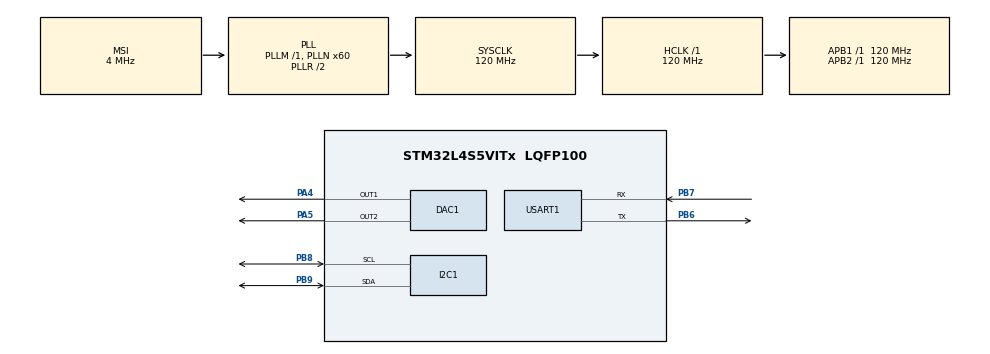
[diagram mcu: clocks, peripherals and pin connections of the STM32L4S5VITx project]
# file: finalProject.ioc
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DAC1.DAC_Channel-DAC_OUT2=DAC_CHANNEL_2
DAC1.DAC_Trigger-DAC_OUT1=DAC_TRIGGER_T2_TRGO
Dma.DAC1_CH1.0.Direction=DMA_MEMORY_TO_PERIPH
Dma.DAC1_CH1.0.EventEnable=DISABLE
Dma.DAC1_CH1.0.Instance=DMA1_Channel3
Dma.DAC1_CH1.0.MemDataAlignment=DMA_MDATAALIGN_WORD
Dma.DAC1_CH1.0.MemInc=DMA_MINC_ENABLE
Dma.DAC1_CH1.0.Mode=DMA_CIRCULAR
Dma.DAC1_CH1.0.PeriphDataAlignment=DMA_PDATAALIGN_HALFWORD
Dma.DAC1_CH1.0.PeriphInc=DMA_PINC_DISABLE
Dma.DAC1_CH1.0.Polarity=HAL_DMAMUX_REQUEST_GEN_RISING
Dma.DAC1_CH1.0.Priority=DMA_PRIORITY_LOW
Dma.DAC1_CH1.0.RequestNumber=1
Dma.DAC1_CH1.0.SignalID=NONE
Dma.DAC1_CH1.0.SyncEnable=DISABLE
Dma.DAC1_CH1.0.SyncPolarity=HAL_DMAMUX_SYNC_NO_EVENT
Dma.DAC1_CH1.0.SyncRequestNumber=1
Dma.DAC1_CH1.0.SyncSignalID=NONE
Dma.Request0=DAC1_CH1
I2C1.Timing=0x30A175AB
Mcu.Family=STM32L4
Mcu.Name=STM32L4S5VITx
Mcu.Package=LQFP100
NVIC.DMA1_Channel3_IRQn=true\:0\:0\:false\:false\:true\:false\:true\:true
NVIC.PriorityGroup=NVIC_PRIORITYGROUP_4
PA4.Signal=COMP_DAC11_group
PA5.Signal=COMP_DAC12_group
PB6.Mode=Asynchronous
PB6.Signal=USART1_TX
PB7.Mode=Asynchronous
PB7.Signal=USART1_RX
PB8.Mode=I2C
PB8.Signal=I2C1_SCL
PB9.Mode=I2C
PB9.Signal=I2C1_SDA
ProjectManager.HeapSize=0x200
ProjectManager.StackSize=0x400
ProjectManager.TargetToolchain=STM32CubeIDE
RCC.ADCFreq_Value=48000000
RCC.AHBFreq_Value=120000000
RCC.APB1Freq_Value=120000000
RCC.APB1TimFreq_Value=120000000
RCC.APB2Freq_Value=120000000
RCC.APB2TimFreq_Value=120000000
RCC.CortexFreq_Value=120000000
RCC.HCLKFreq_Value=120000000
RCC.HSE_VALUE=8000000
RCC.HSI48_VALUE=48000000
RCC.HSI_VALUE=16000000
RCC.LSE_VALUE=32768
RCC.MSI_VALUE=4000000
RCC.PLLN=60
RCC.PLLSAI1N=24
RCC.SYSCLKFreq_VALUE=120000000
RCC.SYSCLKSource=RCC_SYSCLKSOURCE_PLLCLK
RCC.USBFreq_Value=48000000
RCC.VCOOutputFreq_Value=240000000
SH.COMP_DAC11_group.0=DAC1_OUT1,DAC_OUT1
SH.COMP_DAC12_group.0=DAC1_OUT2,DAC_OUT2
TIM2.Period=200
TIM2.TIM_MasterOutputTrigger=TIM_TRGO_UPDATE
USART1.VirtualMode-Asynchronous=VM_ASYNC
VP_TIM2_VS_ClockSourceINT.Mode=Internal
board=B-L4S5I-IOT01A

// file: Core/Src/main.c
/* USER CODE BEGIN Header */
/**
  ******************************************************************************
  * @file           : main.c
  * @brief          : Main program body
  ******************************************************************************
  * @attention
  *
  * Copyright (c) 2024 STMicroelectronics.
  * All rights reserved.
  *
  * This software is licensed under terms that can be found in the LICENSE file
  * in the root directory of this software component.
  * If no LICENSE file comes with this software, it is provided AS-IS.
  *
  ******************************************************************************
  */
/* USER CODE END Header */
#include "main.h"

/* USER CODE BEGIN Includes */
#include "kalman_c.h"
#define ARM_MATH_CM4
#include "arm_math.h"
#include <math.h>
#include "stm32l4s5i_iot01_magneto.h"  // LIS3MDL (magnetometer)
#include "stm32l4s5i_iot01_accelero.h" // LSM6DSL (accelerometer/gyroscope)
#include <string.h>
#include <stdio.h>

/* USER CODE END Includes */

DAC_HandleTypeDef hdac1;
DMA_HandleTypeDef hdma_dac1_ch1;

I2C_HandleTypeDef hi2c1;

TIM_HandleTypeDef htim2;

UART_HandleTypeDef huart1;

/* USER CODE BEGIN PV */

int16_t magnetometer_data[3];
int16_t accelerometer_data[3];
int16_t smoothed_accelerometer_data[3];
kalman_state stateX = {0.1, 0.1, 0.1, 5, 0};
kalman_state stateY = {0.1, 0.1, 0.1, 5, 0};
kalman_state stateZ = {0.1, 0.1, 0.1, 5, 0};
void Sensor_Read_with_Kalman(void);
const int BOARD_SIZE = 10;      // 10x10 board
const char CAR_SYMBOL = 'H';    // Car symbol
const char EMPTY_CELL = '.';    // Empty cell symbol
#define MAX_OBSTACLES 3      // Maximum number of obstacles
#define OBSTACLE_SYMBOL 'X'  // Symbol for obstacles

typedef struct {
    int x;  // X position
    int y;  // Y position
} Obstacle;

Obstacle obstacles[MAX_OBSTACLES];

/* USER CODE END PV */

void SystemClock_Config(void);
static void MX_GPIO_Init(void);
static void MX_DMA_Init(void);
static void MX_I2C1_Init(void);
static void MX_USART1_UART_Init(void);
static void MX_DAC1_Init(void);
static void MX_TIM2_Init(void);

/* USER CODE BEGIN 0 */
//we chose counter period of 200, which gives us 600khz, because 120 Mhz/200=600kz (with 120 Mhz processor clock)
#define SINE_TABLE_SIZE 400//600khz/400 = 1.5khz
#define SINE_TABLE_SIZE2 500//600khz/500 =1.2khz
#define SINE_TABLE_SIZE3 600//600khz/600 =1khz
#define SINE_TABLE_SIZE4 600//300khz/600 =500 hz (here because counter period is modified to 400 rather than 200
#define amplitude 170// 2/3 of 256 max amplitude from 8-bit config
uint32_t sine_table[SINE_TABLE_SIZE];
uint32_t sine_table2[SINE_TABLE_SIZE2];
uint32_t sine_table3[SINE_TABLE_SIZE3];
uint32_t sine_table4[SINE_TABLE_SIZE4];

//function to fill needed arrays with samples of sine waves of different frequencies
void GenerateSineTable(void) {
	float32_t val=0;
    for (int i = 0; i < SINE_TABLE_SIZE; i++) {
    	val=(arm_sin_f32(2.0f * 3.141592653 * i / SINE_TABLE_SIZE) + 1.0f) * (amplitude / 2.0f);
        sine_table[i] = (uint32_t) val;
    }
    val=0.0f;
    for (int i = 0; i < SINE_TABLE_SIZE2; i++) {
		val=(arm_sin_f32(2.0f * 3.141592653 * i / SINE_TABLE_SIZE2) + 1.0f) * (amplitude / 2.0f);
		sine_table2[i] = (uint32_t) val;
	}
    val=0.0f;
	for (int i = 0; i < SINE_TABLE_SIZE3; i++) {
		val=(arm_sin_f32(2.0f * 3.141592653 * i / SINE_TABLE_SIZE3) + 1.0f) * (amplitude / 2.0f);
		sine_table3[i] = (uint32_t) val;
	}
	val=0.0f;
	for (int i = 0; i < SINE_TABLE_SIZE4; i++) {
		val=(arm_sin_f32(2.0f * 3.141592653 * i / SINE_TABLE_SIZE4) + 1.0f) * (amplitude / 2.0f);
		sine_table4[i] = (uint32_t) val;
	}
}
//function to read measurements of 5 sensors and send it over UART
void Sensor_Read_with_Kalman(void) {
	char buffer[100];  // Buffer to store the formatted string

	// Read sensor data
	//BSP_MAGNETO_GetXYZ(magnetometer_data);
	BSP_ACCELERO_AccGetXYZ(accelerometer_data);

	smoothed_accelerometer_data[0]=Kalmanfilter((float)accelerometer_data[0], &stateX);
	smoothed_accelerometer_data[1]=Kalmanfilter((float)accelerometer_data[1], &stateY);
	smoothed_accelerometer_data[2]=Kalmanfilter((float)accelerometer_data[2], &stateZ);

	sprintf(buffer, "Accelerometer: X=%d, Y=%d, Z=%d\r\n",
		accelerometer_data[0], accelerometer_data[1],
		accelerometer_data[2]);
	HAL_UART_Transmit(&huart1, (uint8_t*) buffer, strlen(buffer),
			HAL_MAX_DELAY);
	sprintf(buffer, "Smoothed Accelerometer: X=%d, Y=%d, Z=%d\r\n",
		smoothed_accelerometer_data[0], smoothed_accelerometer_data[1],
		smoothed_accelerometer_data[2]);
	HAL_UART_Transmit(&huart1, (uint8_t*) buffer, strlen(buffer),
			HAL_MAX_DELAY);

	HAL_UART_Transmit(&huart1, (uint8_t*) "\r\n", 2, HAL_MAX_DELAY); // Newline for clarity
}

void processAcceleration() {
    int16_t xAxisValue = smoothed_accelerometer_data[0]; // Read X-axis value
    int16_t yAxisValue = smoothed_accelerometer_data[1]; // Read Y-axis value

    // Calculate the total acceleration (resultant of X and Y)
    float totalAcceleration = sqrt((float)(xAxisValue * xAxisValue) + (float)(yAxisValue * yAxisValue));

    // Logic for sound generation based on total acceleration
    if (totalAcceleration < 500) {
        // Low acceleration: Play Sound 1
        HAL_DAC_Stop_DMA(&hdac1, DAC_CHANNEL_1);
        HAL_DAC_Start_DMA(&hdac1, DAC_CHANNEL_1, sine_table, SINE_TABLE_SIZE, DAC_ALIGN_8B_R);
    } else if (totalAcceleration >= 300 && totalAcceleration < 600) {
        // Moderate acceleration: Play Sound 2
        HAL_DAC_Stop_DMA(&hdac1, DAC_CHANNEL_1);
        HAL_DAC_Start_DMA(&hdac1, DAC_CHANNEL_1, sine_table2, SINE_TABLE_SIZE2, DAC_ALIGN_8B_R);
    } else if (totalAcceleration >= 600) {
        // High acceleration: Play Sound 3
        HAL_DAC_Stop_DMA(&hdac1, DAC_CHANNEL_1);
        HAL_DAC_Start_DMA(&hdac1, DAC_CHANNEL_1, sine_table3, SINE_TABLE_SIZE3, DAC_ALIGN_8B_R);
    }
}
//// Function to map accelerometer coordinates to the board's grid
//void MapCoordinatesToBoard(int x, int y, char board[BOARD_SIZE][BOARD_SIZE]) {
//    // Clear the board
//    for (int i = 0; i < BOARD_SIZE; i++) {
//        for (int j = 0; j < BOARD_SIZE; j++) {
//            board[i][j] = EMPTY_CELL;
//        }
//    }
//    // Scale and map coordinates to the board
//    int mappedX = BOARD_SIZE / 2 + (x / 100);  // Adjust scaling factor (/100) as needed
//    int mappedY = BOARD_SIZE / 2 - (y / 100);  // Flip Y-axis
//    // Clamp the car position within board boundaries
//    if (mappedX < 0) mappedX = 0;
//    if (mappedX >= BOARD_SIZE) mappedX = BOARD_SIZE - 1;
//    if (mappedY < 0) mappedY = 0;
//    if (mappedY >= BOARD_SIZE) mappedY = BOARD_SIZE - 1;
//    // Place the car on the board
//    board[mappedY][mappedX] = CAR_SYMBOL;
//}

// Map accelerometer coordinates to board
void MapCoordinatesToBoard(int x, int y, char board[BOARD_SIZE][BOARD_SIZE], int *carX, int *carY) {
    // Clear the board
    for (int i = 0; i < BOARD_SIZE; i++) {
        for (int j = 0; j < BOARD_SIZE; j++) {
            board[i][j] = EMPTY_CELL;
        }
    }

    // Map coordinates to board
    *carX = BOARD_SIZE / 2 + (x / 100);
    *carY = BOARD_SIZE / 2 - (y / 100);

    // Clamp position to board boundaries
    if (*carX < 0) *carX = 0;
    if (*carX >= BOARD_SIZE) *carX = BOARD_SIZE - 1;
    if (*carY < 0) *carY = 0;
    if (*carY >= BOARD_SIZE) *carY = BOARD_SIZE - 1;

    // Place car on the board
    board[*carY][*carX] = CAR_SYMBOL;
}
// Function to transmit the 2D board to UART
void PrintBoardToUART(char board[BOARD_SIZE][BOARD_SIZE]) {
    char buffer[200];  // Buffer to store the board as a string
    int index = 0;
    // Convert the board to a string representation
    for (int i = 0; i < BOARD_SIZE; i++) {
        for (int j = 0; j < BOARD_SIZE; j++) {
            buffer[index++] = board[i][j];
        }
        buffer[index++] = '\r';  // Carriage return
        buffer[index++] = '\n';  // New line
    }
    buffer[index] = '\0';  // Null-terminate the string
    // Transmit the board over UART
    HAL_UART_Transmit(&huart1, (uint8_t*)buffer, strlen(buffer), HAL_MAX_DELAY);
}

// Initialize obstacles at random positions
void InitializeObstacles(void) {
    for (int i = 0; i < MAX_OBSTACLES; i++) {
        obstacles[i].x = rand() % BOARD_SIZE; // Random X position
        obstacles[i].y = rand() % BOARD_SIZE; // Random Y position
    }
}

// Move obstacles down and respawn at random X positions when out of bounds
void MoveObstacles(char board[BOARD_SIZE][BOARD_SIZE]) {
    for (int i = 0; i < MAX_OBSTACLES; i++) {
        // Clear current position
        board[obstacles[i].y][obstacles[i].x] = EMPTY_CELL;

        // Move obstacle down
        obstacles[i].y++;

        // If obstacle goes out of bounds, reset to the top
        if (obstacles[i].y >= BOARD_SIZE) {
            obstacles[i].y = 0;                  // Reset to top
            obstacles[i].x = rand() % BOARD_SIZE; // Randomize X position
        }

        // Place obstacle in the new position
        board[obstacles[i].y][obstacles[i].x] = OBSTACLE_SYMBOL;
    }
}

// Check for collisions between car and obstacles
int CheckCollision(int carX, int carY) {
    for (int i = 0; i < MAX_OBSTACLES; i++) {
        if (obstacles[i].x == carX && obstacles[i].y == carY) {
            return 1; // Collision detected
        }
    }
    return 0; // No collision
}
/* USER CODE END 0 */

int main(void)
{

  /* MCU Configuration--------------------------------------------------------*/

  /* Reset of all peripherals, Initializes the Flash interface and the Systick. */
  HAL_Init();

  /* Configure the system clock */
  SystemClock_Config();

  /* Initialize all configured peripherals */
  MX_GPIO_Init();
  MX_DMA_Init();
  MX_I2C1_Init();
  MX_USART1_UART_Init();
  MX_DAC1_Init();
  MX_TIM2_Init();
  /* USER CODE BEGIN 2 */
  BSP_MAGNETO_Init();
  BSP_ACCELERO_Init();
  GenerateSineTable();
  HAL_DAC_Start(&hdac1, DAC_CHANNEL_1);

  HAL_TIM_Base_Start(&htim2);
  HAL_DAC_Start_DMA(&hdac1, DAC_CHANNEL_1, (uint32_t*)sine_table, SINE_TABLE_SIZE, DAC_ALIGN_8B_R);
  /* USER CODE END 2 */

  /* Infinite loop */
  /* USER CODE BEGIN WHILE */
  char board[BOARD_SIZE][BOARD_SIZE];  // 2D board
  int carX, carY;
  int prevCarX = -1, prevCarY = -1;
  while (1)
  {
    /* USER CODE END WHILE */

    /* USER CODE BEGIN 3 */
	  // Read accelerometer data and update smoothed values
	      Sensor_Read_with_Kalman();

	      // Map car position to board
	      MapCoordinatesToBoard(smoothed_accelerometer_data[0], smoothed_accelerometer_data[1], board, &carX, &carY);

	      // Play sound if the car moves
	          if (carX != prevCarX || carY != prevCarY) {
	              processAcceleration(); // Trigger sound
	          } else {
	              HAL_DAC_Stop_DMA(&hdac1, DAC_CHANNEL_1); // Stop sound
	          }

	          // Update previous position
	          prevCarX = carX;
	          prevCarY = carY;
	      // Move obstacles and place on board
	      MoveObstacles(board);

	      // Check for collisions
	      if (CheckCollision(carX, carY)) {
	          HAL_UART_Transmit(&huart1, (uint8_t *)"Collision Detected!\r\n", 22, HAL_MAX_DELAY);
	          break; // Exit the game
	      }

	      // Print updated board to UART
	      PrintBoardToUART(board);
//	  processAcceleration();
	  HAL_Delay(500);
  }
  /* USER CODE END 3 */
}

void SystemClock_Config(void)
{
  RCC_OscInitTypeDef RCC_OscInitStruct = {0};
  RCC_ClkInitTypeDef RCC_ClkInitStruct = {0};

  /** Configure the main internal regulator output voltage
  */
  if (HAL_PWREx_ControlVoltageScaling(PWR_REGULATOR_VOLTAGE_SCALE1_BOOST) != HAL_OK)
  {
    Error_Handler();
  }

  /** Initializes the RCC Oscillators according to the specified parameters
  * in the RCC_OscInitTypeDef structure.
  */
  RCC_OscInitStruct.OscillatorType = RCC_OSCILLATORTYPE_MSI;
  RCC_OscInitStruct.MSIState = RCC_MSI_ON;
  RCC_OscInitStruct.MSICalibrationValue = 0;
  RCC_OscInitStruct.MSIClockRange = RCC_MSIRANGE_6;
  RCC_OscInitStruct.PLL.PLLState = RCC_PLL_ON;
  RCC_OscInitStruct.PLL.PLLSource = RCC_PLLSOURCE_MSI;
  RCC_OscInitStruct.PLL.PLLM = 1;
  RCC_OscInitStruct.PLL.PLLN = 60;
  RCC_OscInitStruct.PLL.PLLP = RCC_PLLP_DIV2;
  RCC_OscInitStruct.PLL.PLLQ = RCC_PLLQ_DIV2;
  RCC_OscInitStruct.PLL.PLLR = RCC_PLLR_DIV2;
  if (HAL_RCC_OscConfig(&RCC_OscInitStruct) != HAL_OK)
  {
    Error_Handler();
  }

  /** Initializes the CPU, AHB and APB buses clocks
  */
  RCC_ClkInitStruct.ClockType = RCC_CLOCKTYPE_HCLK|RCC_CLOCKTYPE_SYSCLK
                              |RCC_CLOCKTYPE_PCLK1|RCC_CLOCKTYPE_PCLK2;
  RCC_ClkInitStruct.SYSCLKSource = RCC_SYSCLKSOURCE_PLLCLK;
  RCC_ClkInitStruct.AHBCLKDivider = RCC_SYSCLK_DIV1;
  RCC_ClkInitStruct.APB1CLKDivider = RCC_HCLK_DIV1;
  RCC_ClkInitStruct.APB2CLKDivider = RCC_HCLK_DIV1;

  if (HAL_RCC_ClockConfig(&RCC_ClkInitStruct, FLASH_LATENCY_5) != HAL_OK)
  {
    Error_Handler();
  }
}

static void MX_DAC1_Init(void)
{

  DAC_ChannelConfTypeDef sConfig = {0};

  /** DAC Initialization
  */
  hdac1.Instance = DAC1;
  if (HAL_DAC_Init(&hdac1) != HAL_OK)
  {
    Error_Handler();
  }

  /** DAC channel OUT1 config
  */
  sConfig.DAC_SampleAndHold = DAC_SAMPLEANDHOLD_DISABLE;
  sConfig.DAC_Trigger = DAC_TRIGGER_T2_TRGO;
  sConfig.DAC_HighFrequency = DAC_HIGH_FREQUENCY_INTERFACE_MODE_ABOVE_80MHZ;
  sConfig.DAC_OutputBuffer = DAC_OUTPUTBUFFER_ENABLE;
  sConfig.DAC_ConnectOnChipPeripheral = DAC_CHIPCONNECT_DISABLE;
  sConfig.DAC_UserTrimming = DAC_TRIMMING_FACTORY;
  if (HAL_DAC_ConfigChannel(&hdac1, &sConfig, DAC_CHANNEL_1) != HAL_OK)
  {
    Error_Handler();
  }

  /** DAC channel OUT2 config
  */
  sConfig.DAC_Trigger = DAC_TRIGGER_NONE;
  if (HAL_DAC_ConfigChannel(&hdac1, &sConfig, DAC_CHANNEL_2) != HAL_OK)
  {
    Error_Handler();
  }

}

static void MX_I2C1_Init(void)
{

  hi2c1.Instance = I2C1;
  hi2c1.Init.Timing = 0x30A175AB;
  hi2c1.Init.OwnAddress1 = 0;
  hi2c1.Init.AddressingMode = I2C_ADDRESSINGMODE_7BIT;
  hi2c1.Init.DualAddressMode = I2C_DUALADDRESS_DISABLE;
  hi2c1.Init.OwnAddress2 = 0;
  hi2c1.Init.OwnAddress2Masks = I2C_OA2_NOMASK;
  hi2c1.Init.GeneralCallMode = I2C_GENERALCALL_DISABLE;
  hi2c1.Init.NoStretchMode = I2C_NOSTRETCH_DISABLE;
  if (HAL_I2C_Init(&hi2c1) != HAL_OK)
  {
    Error_Handler();
  }

  /** Configure Analogue filter
  */
  if (HAL_I2CEx_ConfigAnalogFilter(&hi2c1, I2C_ANALOGFILTER_ENABLE) != HAL_OK)
  {
    Error_Handler();
  }

  /** Configure Digital filter
  */
  if (HAL_I2CEx_ConfigDigitalFilter(&hi2c1, 0) != HAL_OK)
  {
    Error_Handler();
  }

}

static void MX_TIM2_Init(void)
{

  TIM_ClockConfigTypeDef sClockSourceConfig = {0};
  TIM_MasterConfigTypeDef sMasterConfig = {0};

  htim2.Instance = TIM2;
  htim2.Init.Prescaler = 0;
  htim2.Init.CounterMode = TIM_COUNTERMODE_UP;
  htim2.Init.Period = 200;
  htim2.Init.ClockDivision = TIM_CLOCKDIVISION_DIV1;
  htim2.Init.AutoReloadPreload = TIM_AUTORELOAD_PRELOAD_DISABLE;
  if (HAL_TIM_Base_Init(&htim2) != HAL_OK)
  {
    Error_Handler();
  }
  sClockSourceConfig.ClockSource = TIM_CLOCKSOURCE_INTERNAL;
  if (HAL_TIM_ConfigClockSource(&htim2, &sClockSourceConfig) != HAL_OK)
  {
    Error_Handler();
  }
  sMasterConfig.MasterOutputTrigger = TIM_TRGO_UPDATE;
  sMasterConfig.MasterSlaveMode = TIM_MASTERSLAVEMODE_DISABLE;
  if (HAL_TIMEx_MasterConfigSynchronization(&htim2, &sMasterConfig) != HAL_OK)
  {
    Error_Handler();
  }

}

static void MX_USART1_UART_Init(void)
{

  huart1.Instance = USART1;
  huart1.Init.BaudRate = 115200;
  huart1.Init.WordLength = UART_WORDLENGTH_8B;
  huart1.Init.StopBits = UART_STOPBITS_1;
  huart1.Init.Parity = UART_PARITY_NONE;
  huart1.Init.Mode = UART_MODE_TX_RX;
  huart1.Init.HwFlowCtl = UART_HWCONTROL_NONE;
  huart1.Init.OverSampling = UART_OVERSAMPLING_16;
  huart1.Init.OneBitSampling = UART_ONE_BIT_SAMPLE_DISABLE;
  huart1.Init.ClockPrescaler = UART_PRESCALER_DIV1;
  huart1.AdvancedInit.AdvFeatureInit = UART_ADVFEATURE_NO_INIT;
  if (HAL_UART_Init(&huart1) != HAL_OK)
  {
    Error_Handler();
  }
  if (HAL_UARTEx_SetTxFifoThreshold(&huart1, UART_TXFIFO_THRESHOLD_1_8) != HAL_OK)
  {
    Error_Handler();
  }
  if (HAL_UARTEx_SetRxFifoThreshold(&huart1, UART_RXFIFO_THRESHOLD_1_8) != HAL_OK)
  {
    Error_Handler();
  }
  if (HAL_UARTEx_DisableFifoMode(&huart1) != HAL_OK)
  {
    Error_Handler();
  }

}

static void MX_DMA_Init(void)
{

  /* DMA controller clock enable */
  __HAL_RCC_DMAMUX1_CLK_ENABLE();
  __HAL_RCC_DMA1_CLK_ENABLE();

  /* DMA interrupt init */
  /* DMA1_Channel3_IRQn interrupt configuration */
  HAL_NVIC_SetPriority(DMA1_Channel3_IRQn, 0, 0);
  HAL_NVIC_EnableIRQ(DMA1_Channel3_IRQn);

}

static void MX_GPIO_Init(void)
{

  /* GPIO Ports Clock Enable */
  __HAL_RCC_GPIOA_CLK_ENABLE();
  __HAL_RCC_GPIOB_CLK_ENABLE();

}

void Error_Handler(void)
{
  __disable_irq();
  while (1)
  {
  }
}
